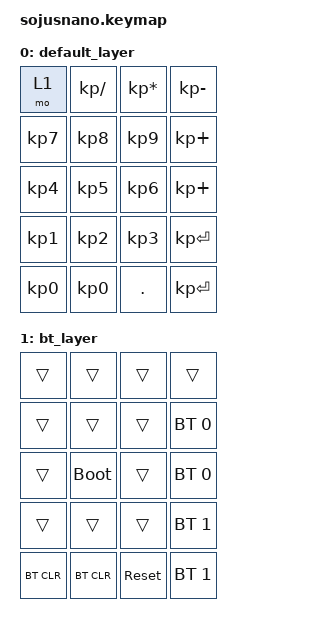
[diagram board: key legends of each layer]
#include <behaviors.dtsi>
#include <dt-bindings/zmk/keys.h>
#include <dt-bindings/zmk/bt.h>

#define DEFAULT 0
#define BLUE    1

/ {
keymap {
    compatible = "zmk,keymap";

    default_layer {
    bindings = <
                &mo 1         &kp KP_DIVIDE     &kp KP_MULTIPLY     &kp KP_SUBTRACT
                &kp KP_N7     &kp KP_N8         &kp KP_N9           &kp KP_PLUS
                &kp KP_N4     &kp KP_N5         &kp KP_N6           &kp KP_PLUS
                &kp KP_N1     &kp KP_N2         &kp KP_N3           &kp KP_ENTER
                &kp KP_N0     &kp KP_N0         &kp DOT             &kp KP_ENTER
            >;
    };

    bt_layer {
      bindings = <
                &trans     &trans         &trans        &trans 
                &trans     &trans         &trans        &bt BT_SEL 0
                &trans     &bootloader    &trans        &bt BT_SEL 0
                &trans     &trans         &trans        &bt BT_SEL 1
                &bt BT_CLR &bt BT_CLR     &sys_reset    &bt BT_SEL 1
      >;
    };
 };
 };


